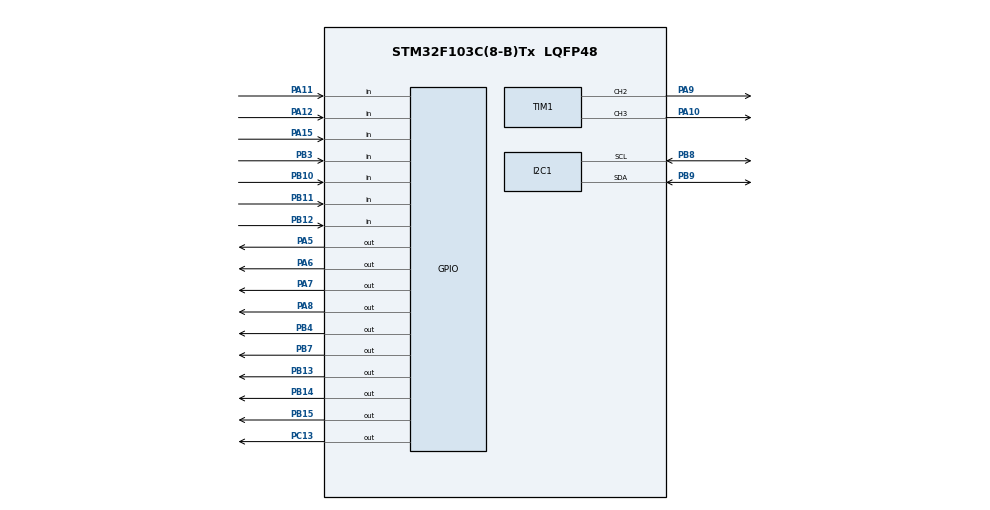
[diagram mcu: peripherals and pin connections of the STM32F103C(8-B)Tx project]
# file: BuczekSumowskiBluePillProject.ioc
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Mcu.Family=STM32F1
Mcu.Name=STM32F103C(8-B)Tx
Mcu.Package=LQFP48
NVIC.PriorityGroup=NVIC_PRIORITYGROUP_4
PA10.Signal=S_TIM1_CH3
PA11.Signal=GPIO_Input
PA12.Signal=GPIO_Input
PA15.Signal=GPIO_Input
PA5.Signal=GPIO_Output
PA6.Signal=GPIO_Output
PA7.Signal=GPIO_Output
PA8.Signal=GPIO_Output
PA9.Signal=S_TIM1_CH2
PB10.Signal=GPIO_Input
PB11.Signal=GPIO_Input
PB12.Signal=GPIO_Input
PB13.Signal=GPIO_Output
PB14.Signal=GPIO_Output
PB15.Signal=GPIO_Output
PB3.Signal=GPIO_Input
PB4.Signal=GPIO_Output
PB7.Signal=GPIO_Output
PB8.Mode=I2C
PB8.Signal=I2C1_SCL
PB9.Mode=I2C
PB9.Signal=I2C1_SDA
PC13-TAMPER-RTC.Signal=GPIO_Output
ProjectManager.HeapSize=0x200
ProjectManager.StackSize=0x400
ProjectManager.TargetToolchain=STM32CubeIDE
RCC.APB1Freq_Value=8000000
RCC.APB2Freq_Value=8000000
SH.S_TIM1_CH2.0=TIM1_CH2,PWM Generation2 CH2
SH.S_TIM1_CH3.0=TIM1_CH3,PWM Generation3 CH3
TIM1.AutoReloadPreload=TIM_AUTORELOAD_PRELOAD_ENABLE
TIM1.Channel-PWM\ Generation2\ CH2=TIM_CHANNEL_2
TIM1.Channel-PWM\ Generation3\ CH3=TIM_CHANNEL_3
VP_TIM1_VS_ClockSourceINT.Mode=Internal
board=custom

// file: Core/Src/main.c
/* USER CODE BEGIN Header */
/**
  ******************************************************************************
  * @file           : main.c
  * @brief          : Main program body
  ******************************************************************************
  * @attention
  *
  * Copyright (c) 2023 STMicroelectronics.
  * All rights reserved.
  *
  * This software is licensed under terms that can be found in the LICENSE file
  * in the root directory of this software component.
  * If no LICENSE file comes with this software, it is provided AS-IS.
  *
  ******************************************************************************
  */
/* USER CODE END Header */
#include "main.h"

/* USER CODE BEGIN Includes */

#include <stdbool.h>
#include "vl53l0x_api.h"

/* USER CODE END Includes */

/* USER CODE BEGIN PTD */

enum Rotation {
  CLOCKWISE,
  COUNTER_CLOCKWISE
};

enum Side {
	RIGHT,
	LEFT,
	STRAIGHT,
	BACK
};

enum IRSensorPosition {
	FRONT_RIGHT,
	FRONT_LEFT,
	BACK_MIDDLE
};

enum LaserSensorPosition {
	RIGHT_SIDE,
	RIGHT_FRONT,
	LEFT_SIDE,
	LEFT_FRONT
};

enum ActionState {
	FIND,
	ATTACK
};

/* USER CODE END PTD */

/* USER CODE BEGIN PD */

#define AIN1_PORT GPIOA
#define AIN1_PIN GPIO_PIN_8
#define AIN2_PORT GPIOB
#define AIN2_PIN GPIO_PIN_15

#define BIN1_PORT GPIOB
#define BIN1_PIN GPIO_PIN_13
#define BIN2_PORT GPIOB
#define BIN2_PIN GPIO_PIN_14

#define XSHUT_PORT GPIOB
GPIO_TypeDef *xshut_ports[] = {GPIOB, GPIOA, GPIOA, GPIOA};
uint16_t xshut_pins[] = {GPIO_PIN_7, GPIO_PIN_7, GPIO_PIN_5, GPIO_PIN_6};
//#define XSHUT_RIGHT_SIDE_PIN GPIO_PIN_4
//#define XSHUT_RIGHT_FRONT_PIN GPIO_PIN_5
//#define XSHUT_LEFT_SIDE_PIN GPIO_PIN_6
//#define XSHUT_LEFT_FRONT_PIN GPIO_PIN_7

#define IR_FRONT_RIGHT_PORT GPIOA
#define IR_FRONT_RIGHT_PIN GPIO_PIN_11
#define IR_FRONT_LEFT_PORT GPIOA
#define IR_FRONT_LEFT_PIN GPIO_PIN_12
#define IR_BACK_MIDDLE_PORT GPIOA
#define IR_BACK_MIDDLE_PIN GPIO_PIN_15

/* USER CODE END PD */

I2C_HandleTypeDef hi2c1;

TIM_HandleTypeDef htim1;

void SystemClock_Config(void);
static void MX_GPIO_Init(void);
static void MX_I2C1_Init(void);
static void MX_TIM1_Init(void);
/* USER CODE BEGIN PFP */

void initLasers();

/* USER CODE END PFP */

/* USER CODE BEGIN 0 */

VL53L0X_RangingMeasurementData_t RangingData;
VL53L0X_Dev_t vl53l0xs[4];
VL53L0X_DEV laser_devs[] = {&vl53l0xs[0], &vl53l0xs[1], &vl53l0xs[2], &vl53l0xs[3]};

enum ActionState action_state;

uint16_t laser_values[4];
bool ir_values[3];

uint16_t readLaserSensor(enum LaserSensorPosition laser_pos) {
	//VL53L0X_RangingMeasurementData_t RangingData;
	VL53L0X_PerformSingleRangingMeasurement(laser_devs[laser_pos], &RangingData);

	//while (RangingData.RangeStatus != 0)
	//	VL53L0X_PerformSingleRangingMeasurement(laser_devs[laser_pos], &RangingData);

	return RangingData.RangeMilliMeter;
}
void readFromAllLasers() {
	laser_values[RIGHT_SIDE] = readLaserSensor(RIGHT_SIDE);
	laser_values[RIGHT_FRONT] = readLaserSensor(RIGHT_FRONT);
	laser_values[LEFT_SIDE] = readLaserSensor(LEFT_SIDE);
	laser_values[LEFT_FRONT] = readLaserSensor(LEFT_FRONT);
}

bool readIRSensor(enum IRSensorPosition ir_sensor_pos) {
	switch (ir_sensor_pos) {
		case FRONT_RIGHT:
			return HAL_GPIO_ReadPin(IR_FRONT_RIGHT_PORT, IR_FRONT_RIGHT_PIN);
		case FRONT_LEFT:
			return HAL_GPIO_ReadPin(IR_FRONT_LEFT_PORT, IR_FRONT_LEFT_PIN);
		case BACK_MIDDLE:
			return HAL_GPIO_ReadPin(IR_BACK_MIDDLE_PORT, IR_BACK_MIDDLE_PIN);
	}

	return false;
}
void readFromAllIRs() {
	ir_values[FRONT_RIGHT] = readIRSensor(FRONT_RIGHT);
	ir_values[FRONT_LEFT] = readIRSensor(FRONT_LEFT);
	ir_values[BACK_MIDDLE] = readIRSensor(BACK_MIDDLE);
}

//speed = 0 to 255
void runMotor(enum Side motor_side, enum Rotation rot, uint8_t speed) {
  GPIO_TypeDef *controll_port1;
  int controll_pin1;
  GPIO_TypeDef *controll_port2;
  int controll_pin2;

  volatile uint32_t *pwm_channel;

  if (motor_side == RIGHT) {
	controll_port1 = BIN1_PORT;
	controll_pin1 = BIN1_PIN;
	controll_port2 = BIN2_PORT;
	controll_pin2 = BIN2_PIN;

	pwm_channel = &TIM1->CCR3;
  } else if (motor_side == LEFT) {
	controll_port1 = AIN2_PORT;
	controll_pin1 = AIN2_PIN;
	controll_port2 = AIN1_PORT;
	controll_pin2 = AIN1_PIN;

	pwm_channel = &TIM1->CCR2;
  }

  int value;

  if (rot == CLOCKWISE) {
    value = GPIO_PIN_RESET;
  } else if (rot == COUNTER_CLOCKWISE) {
    value = GPIO_PIN_SET;
  }

  HAL_GPIO_WritePin(controll_port1, controll_pin1, value);
  HAL_GPIO_WritePin(controll_port2, controll_pin2, !value);

  //max pwm value: 65535
  int converted_speed = (((float) speed)*(65535/255));
  *pwm_channel = converted_speed;

}
void goDirection(enum Side side, uint8_t speed) {
  switch (side) {
    case RIGHT:
      runMotor(RIGHT, COUNTER_CLOCKWISE, speed);
      runMotor(LEFT, COUNTER_CLOCKWISE, speed);
      break;
    case LEFT:
      runMotor(RIGHT, CLOCKWISE, speed);
      runMotor(LEFT, CLOCKWISE, speed);
      break;
    case STRAIGHT:
      runMotor(RIGHT, CLOCKWISE, speed);
      runMotor(LEFT, COUNTER_CLOCKWISE, speed);
      break;
    case BACK:
      runMotor(RIGHT, COUNTER_CLOCKWISE, speed);
      runMotor(LEFT, CLOCKWISE, speed);
      break;
  }
}

uint16_t value1;
uint16_t value2;
uint16_t value3;

/* USER CODE END 0 */

int main(void)
{

  /* MCU Configuration--------------------------------------------------------*/

  /* Reset of all peripherals, Initializes the Flash interface and the Systick. */
  HAL_Init();

  /* Configure the system clock */
  SystemClock_Config();

  /* Initialize all configured peripherals */
  MX_GPIO_Init();
  MX_I2C1_Init();
  MX_TIM1_Init();
  /* USER CODE BEGIN 2 */

  	initLasers();

	HAL_TIM_PWM_Start(&htim1, TIM_CHANNEL_2);
	HAL_TIM_PWM_Start(&htim1, TIM_CHANNEL_3);
	//HAL_TIM_PWM_Start(&htim1, TIM_CHANNEL_3);

  /* USER CODE END 2 */

  /* Infinite loop */
  /* USER CODE BEGIN WHILE */
  while (1) {
		//HAL_GPIO_WritePin(xshut_ports[LEFT_SIDE], xshut_pins[LEFT_SIDE], GPIO_PIN_RESET);
	  //value1 = readLaserSensor(LEFT_FRONT);
	  //HAL_GPIO_WritePin(XSHUT_PORT, XSHUT_RIGHT_SIDE_PIN, GPIO_PIN_RESET);
	  //HAL_GPIO_WritePin(XSHUT_PORT, XSHUT_RIGHT_FRONT_PIN, GPIO_PIN_RESET);

	  //HAL_GPIO_WritePin(XSHUT_PORT, XSHUT_LEFT_SIDE_PIN, GPIO_PIN_RESET);
	  //HAL_GPIO_WritePin(XSHUT_PORT, XSHUT_LEFT_FRONT_PIN, GPIO_PIN_RESET);

	//VL53L0X_PerformSingleRangingMeasurement(laser_devs[RIGHT_SIDE], &RangingData);

	//while (RangingData.RangeStatus != 0)
		//VL53L0X_PerformSingleRangingMeasurement(laser_devs[LEFT_FRONT], &RangingData);
	//value1 = readLaserSensor(LEFT_SIDE);
	//value1 = RangingData.RangeMilliMeter;

	  //readFromAllLasers();
	//VL53L0X_PerformSingleRangingMeasurement(laser_devs[RIGHT_FRONT], &RangingData);

		//while (RangingData.RangeStatus != 0)
		//	VL53L0X_PerformSingleRangingMeasurement(laser_devs[LEFT_SIDE], &RangingData);

		//value2 = RangingData.RangeMilliMeter;
	  //value = readLaserSensor(LEFT_FRONT);
	  readFromAllLasers();
	  //readFromAllIRs();

		//VL53L0X_PerformSingleRangingMeasurement(laser_devs[LEFT_FRONT], &RangingData);

		//value3 = RangingData.RangeMilliMeter;
	  /*value = readLaserSensor(RIGHT_SIDE);

	  if (action_state == FIND) {

	  } else if (action_state == ATTACK) {

	  }*/
    /* USER CODE END WHILE */
  }
}

void SystemClock_Config(void)
{
  RCC_OscInitTypeDef RCC_OscInitStruct = {0};
  RCC_ClkInitTypeDef RCC_ClkInitStruct = {0};

  /** Initializes the RCC Oscillators according to the specified parameters
  * in the RCC_OscInitTypeDef structure.
  */
  RCC_OscInitStruct.OscillatorType = RCC_OSCILLATORTYPE_HSI;
  RCC_OscInitStruct.HSIState = RCC_HSI_ON;
  RCC_OscInitStruct.HSICalibrationValue = RCC_HSICALIBRATION_DEFAULT;
  RCC_OscInitStruct.PLL.PLLState = RCC_PLL_NONE;
  if (HAL_RCC_OscConfig(&RCC_OscInitStruct) != HAL_OK)
  {
    Error_Handler();
  }

  /** Initializes the CPU, AHB and APB buses clocks
  */
  RCC_ClkInitStruct.ClockType = RCC_CLOCKTYPE_HCLK|RCC_CLOCKTYPE_SYSCLK
                              |RCC_CLOCKTYPE_PCLK1|RCC_CLOCKTYPE_PCLK2;
  RCC_ClkInitStruct.SYSCLKSource = RCC_SYSCLKSOURCE_HSI;
  RCC_ClkInitStruct.AHBCLKDivider = RCC_SYSCLK_DIV1;
  RCC_ClkInitStruct.APB1CLKDivider = RCC_HCLK_DIV1;
  RCC_ClkInitStruct.APB2CLKDivider = RCC_HCLK_DIV1;

  if (HAL_RCC_ClockConfig(&RCC_ClkInitStruct, FLASH_LATENCY_0) != HAL_OK)
  {
    Error_Handler();
  }
}

static void MX_I2C1_Init(void)
{

  hi2c1.Instance = I2C1;
  hi2c1.Init.ClockSpeed = 100000;
  hi2c1.Init.DutyCycle = I2C_DUTYCYCLE_2;
  hi2c1.Init.OwnAddress1 = 0;
  hi2c1.Init.AddressingMode = I2C_ADDRESSINGMODE_7BIT;
  hi2c1.Init.DualAddressMode = I2C_DUALADDRESS_DISABLE;
  hi2c1.Init.OwnAddress2 = 0;
  hi2c1.Init.GeneralCallMode = I2C_GENERALCALL_DISABLE;
  hi2c1.Init.NoStretchMode = I2C_NOSTRETCH_DISABLE;
  if (HAL_I2C_Init(&hi2c1) != HAL_OK)
  {
    Error_Handler();
  }

}

static void MX_TIM1_Init(void)
{

  TIM_ClockConfigTypeDef sClockSourceConfig = {0};
  TIM_MasterConfigTypeDef sMasterConfig = {0};
  TIM_OC_InitTypeDef sConfigOC = {0};
  TIM_BreakDeadTimeConfigTypeDef sBreakDeadTimeConfig = {0};

  htim1.Instance = TIM1;
  htim1.Init.Prescaler = 0;
  htim1.Init.CounterMode = TIM_COUNTERMODE_UP;
  htim1.Init.Period = 65535;
  htim1.Init.ClockDivision = TIM_CLOCKDIVISION_DIV1;
  htim1.Init.RepetitionCounter = 0;
  htim1.Init.AutoReloadPreload = TIM_AUTORELOAD_PRELOAD_ENABLE;
  if (HAL_TIM_Base_Init(&htim1) != HAL_OK)
  {
    Error_Handler();
  }
  sClockSourceConfig.ClockSource = TIM_CLOCKSOURCE_INTERNAL;
  if (HAL_TIM_ConfigClockSource(&htim1, &sClockSourceConfig) != HAL_OK)
  {
    Error_Handler();
  }
  if (HAL_TIM_PWM_Init(&htim1) != HAL_OK)
  {
    Error_Handler();
  }
  sMasterConfig.MasterOutputTrigger = TIM_TRGO_RESET;
  sMasterConfig.MasterSlaveMode = TIM_MASTERSLAVEMODE_DISABLE;
  if (HAL_TIMEx_MasterConfigSynchronization(&htim1, &sMasterConfig) != HAL_OK)
  {
    Error_Handler();
  }
  sConfigOC.OCMode = TIM_OCMODE_PWM1;
  sConfigOC.Pulse = 0;
  sConfigOC.OCPolarity = TIM_OCPOLARITY_HIGH;
  sConfigOC.OCNPolarity = TIM_OCNPOLARITY_HIGH;
  sConfigOC.OCFastMode = TIM_OCFAST_DISABLE;
  sConfigOC.OCIdleState = TIM_OCIDLESTATE_RESET;
  sConfigOC.OCNIdleState = TIM_OCNIDLESTATE_RESET;
  if (HAL_TIM_PWM_ConfigChannel(&htim1, &sConfigOC, TIM_CHANNEL_2) != HAL_OK)
  {
    Error_Handler();
  }
  if (HAL_TIM_PWM_ConfigChannel(&htim1, &sConfigOC, TIM_CHANNEL_3) != HAL_OK)
  {
    Error_Handler();
  }
  sBreakDeadTimeConfig.OffStateRunMode = TIM_OSSR_DISABLE;
  sBreakDeadTimeConfig.OffStateIDLEMode = TIM_OSSI_DISABLE;
  sBreakDeadTimeConfig.LockLevel = TIM_LOCKLEVEL_OFF;
  sBreakDeadTimeConfig.DeadTime = 0;
  sBreakDeadTimeConfig.BreakState = TIM_BREAK_DISABLE;
  sBreakDeadTimeConfig.BreakPolarity = TIM_BREAKPOLARITY_HIGH;
  sBreakDeadTimeConfig.AutomaticOutput = TIM_AUTOMATICOUTPUT_DISABLE;
  if (HAL_TIMEx_ConfigBreakDeadTime(&htim1, &sBreakDeadTimeConfig) != HAL_OK)
  {
    Error_Handler();
  }
  HAL_TIM_MspPostInit(&htim1);

}

static void MX_GPIO_Init(void)
{
  GPIO_InitTypeDef GPIO_InitStruct = {0};

  /* GPIO Ports Clock Enable */
  __HAL_RCC_GPIOC_CLK_ENABLE();
  __HAL_RCC_GPIOA_CLK_ENABLE();
  __HAL_RCC_GPIOB_CLK_ENABLE();

  /*Configure GPIO pin Output Level */
  HAL_GPIO_WritePin(GPIOC, GPIO_PIN_13, GPIO_PIN_RESET);

  /*Configure GPIO pin Output Level */
  HAL_GPIO_WritePin(GPIOA, GPIO_PIN_5|GPIO_PIN_6|GPIO_PIN_7|GPIO_PIN_8, GPIO_PIN_RESET);

  /*Configure GPIO pin Output Level */
  HAL_GPIO_WritePin(GPIOB, GPIO_PIN_13|GPIO_PIN_14|GPIO_PIN_15|GPIO_PIN_4
                          |GPIO_PIN_7, GPIO_PIN_RESET);

  /*Configure GPIO pin : PC13 */
  GPIO_InitStruct.Pin = GPIO_PIN_13;
  GPIO_InitStruct.Mode = GPIO_MODE_OUTPUT_PP;
  GPIO_InitStruct.Pull = GPIO_NOPULL;
  GPIO_InitStruct.Speed = GPIO_SPEED_FREQ_LOW;
  HAL_GPIO_Init(GPIOC, &GPIO_InitStruct);

  /*Configure GPIO pins : PA5 PA6 PA7 PA8 */
  GPIO_InitStruct.Pin = GPIO_PIN_5|GPIO_PIN_6|GPIO_PIN_7|GPIO_PIN_8;
  GPIO_InitStruct.Mode = GPIO_MODE_OUTPUT_PP;
  GPIO_InitStruct.Pull = GPIO_NOPULL;
  GPIO_InitStruct.Speed = GPIO_SPEED_FREQ_LOW;
  HAL_GPIO_Init(GPIOA, &GPIO_InitStruct);

  /*Configure GPIO pins : PB10 PB11 PB12 PB3 */
  GPIO_InitStruct.Pin = GPIO_PIN_10|GPIO_PIN_11|GPIO_PIN_12|GPIO_PIN_3;
  GPIO_InitStruct.Mode = GPIO_MODE_INPUT;
  GPIO_InitStruct.Pull = GPIO_NOPULL;
  HAL_GPIO_Init(GPIOB, &GPIO_InitStruct);

  /*Configure GPIO pins : PB13 PB14 PB15 PB4
                           PB7 */
  GPIO_InitStruct.Pin = GPIO_PIN_13|GPIO_PIN_14|GPIO_PIN_15|GPIO_PIN_4
                          |GPIO_PIN_7;
  GPIO_InitStruct.Mode = GPIO_MODE_OUTPUT_PP;
  GPIO_InitStruct.Pull = GPIO_NOPULL;
  GPIO_InitStruct.Speed = GPIO_SPEED_FREQ_LOW;
  HAL_GPIO_Init(GPIOB, &GPIO_InitStruct);

  /*Configure GPIO pins : PA11 PA12 PA15 */
  GPIO_InitStruct.Pin = GPIO_PIN_11|GPIO_PIN_12|GPIO_PIN_15;
  GPIO_InitStruct.Mode = GPIO_MODE_INPUT;
  GPIO_InitStruct.Pull = GPIO_NOPULL;
  HAL_GPIO_Init(GPIOA, &GPIO_InitStruct);

}

/* USER CODE BEGIN 4 */

uint32_t refSpadCount;
uint8_t isApertureSpads;
uint8_t VhvSettings;
uint8_t PhaseCal;

void initLasers() {
	HAL_GPIO_WritePin(xshut_ports[RIGHT_SIDE], xshut_pins[RIGHT_SIDE], GPIO_PIN_RESET);
	HAL_GPIO_WritePin(xshut_ports[RIGHT_FRONT], xshut_pins[RIGHT_FRONT], GPIO_PIN_RESET);
	HAL_GPIO_WritePin(xshut_ports[LEFT_SIDE], xshut_pins[LEFT_SIDE], GPIO_PIN_RESET);
	HAL_GPIO_WritePin(xshut_ports[LEFT_FRONT], xshut_pins[LEFT_FRONT], GPIO_PIN_RESET);

	uint8_t new_addresses[] = { 0x62, 0x64, 0x66, 0x68 };

	for (int dev_ind = 0; dev_ind < 4; dev_ind++) { //RIGHT_SIDE, RIGHT_FRONT, LEFT_SIDE, LEFT_FRONT
		laser_devs[dev_ind]->I2cHandle = &hi2c1;
		laser_devs[dev_ind]->I2cDevAddr = 0x52;

		HAL_GPIO_WritePin(xshut_ports[dev_ind], xshut_pins[dev_ind], GPIO_PIN_RESET); // Disable XSHUT
		HAL_Delay(20);
		HAL_GPIO_WritePin(xshut_ports[dev_ind], xshut_pins[dev_ind], GPIO_PIN_SET); // Enable XSHUT
		HAL_Delay(20);

		//HAL_GPIO_WritePin(xshut_ports[LEFT_SIDE], xshut_pins[LEFT_SIDE], GPIO_PIN_RESET);
		//
		// VL53L0X init for Single Measurement
		//

		VL53L0X_WaitDeviceBooted( laser_devs[dev_ind] );
		VL53L0X_DataInit( laser_devs[dev_ind] );
		VL53L0X_StaticInit( laser_devs[dev_ind]);
		VL53L0X_PerformRefCalibration(laser_devs[dev_ind], &VhvSettings, &PhaseCal);
		VL53L0X_PerformRefSpadManagement(laser_devs[dev_ind], &refSpadCount, &isApertureSpads);
		VL53L0X_SetDeviceMode(laser_devs[dev_ind], VL53L0X_DEVICEMODE_SINGLE_RANGING);

		// Enable/Disable Sigma and Signal check
		VL53L0X_SetLimitCheckEnable(laser_devs[dev_ind], VL53L0X_CHECKENABLE_SIGMA_FINAL_RANGE, 1);
		VL53L0X_SetLimitCheckEnable(laser_devs[dev_ind], VL53L0X_CHECKENABLE_SIGNAL_RATE_FINAL_RANGE, 1);
		VL53L0X_SetLimitCheckValue(laser_devs[dev_ind], VL53L0X_CHECKENABLE_SIGNAL_RATE_FINAL_RANGE, (FixPoint1616_t)(0.1*65536));
		VL53L0X_SetLimitCheckValue(laser_devs[dev_ind], VL53L0X_CHECKENABLE_SIGMA_FINAL_RANGE, (FixPoint1616_t)(60*65536));
		VL53L0X_SetMeasurementTimingBudgetMicroSeconds(laser_devs[dev_ind], 33000);
		VL53L0X_SetVcselPulsePeriod(laser_devs[dev_ind], VL53L0X_VCSEL_PERIOD_PRE_RANGE, 18);
		VL53L0X_SetVcselPulsePeriod(laser_devs[dev_ind], VL53L0X_VCSEL_PERIOD_FINAL_RANGE, 14);

		VL53L0X_SetDeviceAddress(laser_devs[dev_ind], new_addresses[dev_ind]);
		laser_devs[dev_ind]->I2cDevAddr = new_addresses[dev_ind];
	}

}

/* USER CODE END 4 */

void Error_Handler(void)
{
  __disable_irq();
  while (1)
  {
  }
}
